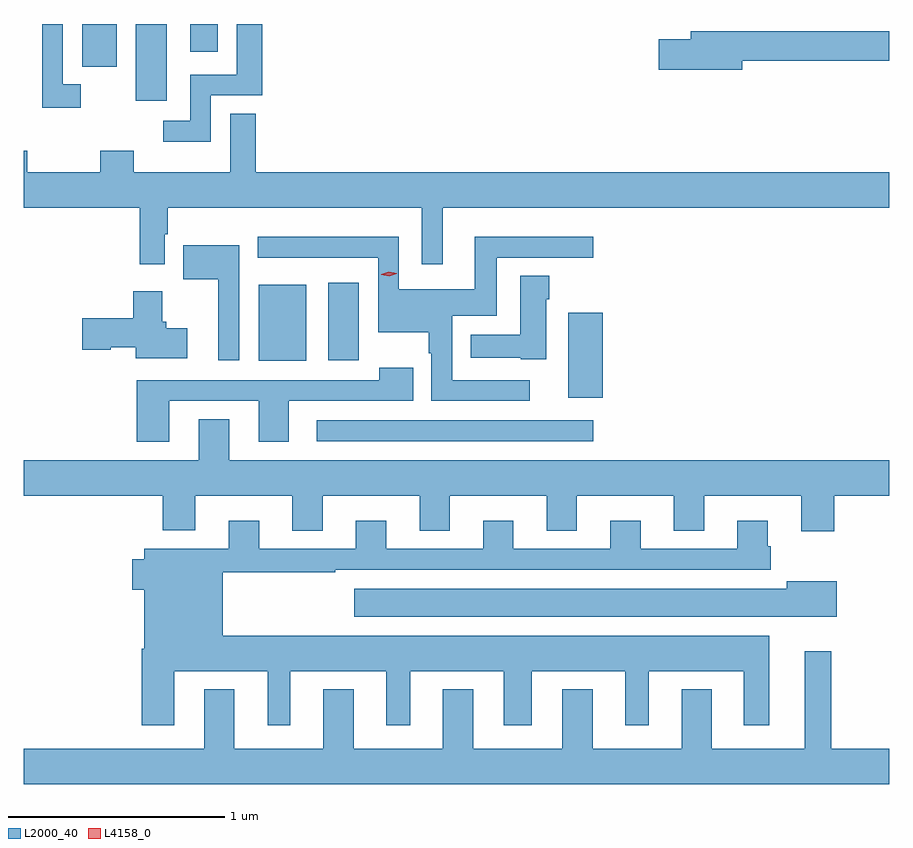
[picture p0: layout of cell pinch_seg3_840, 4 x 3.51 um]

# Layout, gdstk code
import gdstk
lib = gdstk.Library(unit=1e-6, precision=1e-09)
def R(c, l, rs):  # rectangles x0, y0, x1, y1
    for r in rs: c.add(gdstk.rectangle(r[:2], r[2:], *l))
def P(c, l, *ps):  # polygons
    for p in ps: c.add(gdstk.Polygon(p, *l))
L2000_40 = (2000, 40)
L4158_0 = (4158, 0)

pinch_seg3_840 = lib.new_cell('pinch_seg3_840')
R(pinch_seg3_840, L2000_40, [(708.987,729.141,710.266,729.237), (710.15,729.341,710.311,729.736), (708.719,729.512,708.94,729.865), (709.04,729.516,709.183,729.874), (708.152,730.716,708.295,731.07), (707.903,730.872,708.064,731.07), (708.402,730.941,708.529,731.07)])
P(pinch_seg3_840, L2000_40, [(708.498,730.74),(708.736,730.74),(708.736,731.07),(708.617,731.07),(708.617,730.836),(708.402,730.836),(708.402,730.623),(708.279,730.623),(708.279,730.526),(708.498,730.526)],
  [(707.896,730.791),(707.814,730.791),(707.814,731.07),(707.718,731.07),(707.718,730.683),(707.896,730.683)],
  [(710.956,730.9),(711.634,730.9),(711.634,731.036),(710.717,731.036),(710.717,731),(710.568,731),(710.568,730.858),(710.956,730.858)],
  [(708.285,730.098),(708.298,730.098),(708.298,730.22),(709.473,730.22),(709.473,729.96),(709.57,729.96),(709.57,730.22),(711.634,730.22),(711.634,730.384),(708.706,730.384),(708.706,730.655),(708.587,730.655),(708.587,730.384),(708.141,730.384),(708.141,730.483),(707.986,730.483),(707.986,730.384),(707.649,730.384),(707.649,730.483),(707.634,730.483),(707.634,730.22),(708.169,730.22),(708.169,729.96),(708.285,729.96)],
  [(709.972,729.423),(709.614,729.423),(709.614,729.722),(709.819,729.722),(709.819,729.99),(710.266,729.99),(710.266,730.087),(709.718,730.087),(709.718,729.844),(709.368,729.844),(709.368,730.087),(708.715,730.087),(708.715,729.99),(709.272,729.99),(709.272,729.644),(709.506,729.644),(709.506,729.548),(709.518,729.548),(709.518,729.327),(709.972,729.327)],
  [(708.63,730.048),(708.37,730.048),(708.37,729.89),(708.533,729.89),(708.533,729.516),(708.63,729.516)],
  [(710.05,729.797),(710.063,729.797),(710.063,729.905),(709.928,729.905),(709.928,729.634),(709.701,729.634),(709.701,729.527),(709.932,729.527),(709.932,729.521),(710.05,729.521)],
  [(708.388,729.664),(708.292,729.664),(708.292,729.693),(708.274,729.693),(708.274,729.835),(708.14,729.835),(708.14,729.71),(707.904,729.71),(707.904,729.563),(708.036,729.563),(708.036,729.575),(708.152,729.575),(708.152,729.524),(708.388,729.524)],
  [(708.307,729.327),(708.719,729.327),(708.719,729.138),(708.859,729.138),(708.859,729.327),(709.433,729.327),(709.433,729.481),(709.277,729.481),(709.277,729.423),(708.155,729.423),(708.155,729.138),(708.307,729.138)],
  [(708.583,729.242),(708.443,729.242),(708.443,729.052),(707.634,729.052),(707.634,728.888),(708.275,728.888),(708.275,728.729),(708.427,728.729),(708.427,728.888),(708.875,728.888),(708.875,728.728),(709.015,728.728),(709.015,728.888),(709.463,728.888),(709.463,728.728),(709.603,728.728),(709.603,728.888),(710.051,728.888),(710.051,728.728),(710.191,728.728),(710.191,728.888),(710.639,728.888),(710.639,728.728),(710.779,728.728),(710.779,728.888),(711.227,728.888),(711.227,728.724),(711.38,728.724),(711.38,728.888),(711.634,728.888),(711.634,729.052),(708.583,729.052)],
  [(708.328,728.078),(708.761,728.078),(708.761,727.827),(708.865,727.827),(708.865,728.078),(709.31,728.078),(709.31,727.827),(709.42,727.827),(709.42,728.078),(709.853,728.078),(709.853,727.827),(709.981,727.827),(709.981,728.078),(710.414,728.078),(710.414,727.827),(710.524,727.827),(710.524,728.078),(710.963,728.078),(710.963,727.827),(711.079,727.827),(711.079,728.242),(708.553,728.242),(708.553,728.535),(709.073,728.535),(709.073,728.547),(711.086,728.547),(711.086,728.655),(711.073,728.655),(711.073,728.773),(710.933,728.773),(710.933,728.643),(710.485,728.643),(710.485,728.773),(710.345,728.773),(710.345,728.643),(709.897,728.643),(709.897,728.773),(709.757,728.773),(709.757,728.643),(709.309,728.643),(709.309,728.773),(709.169,728.773),(709.169,728.643),(708.721,728.643),(708.721,728.773),(708.581,728.773),(708.581,728.644),(708.191,728.644),(708.191,728.595),(708.134,728.595),(708.134,728.453),(708.191,728.453),(708.191,728.182),(708.179,728.182),(708.179,727.827),(708.328,727.827)],
  [(711.391,728.494),(711.161,728.494),(711.161,728.458),(709.161,728.458),(709.161,728.33),(711.391,728.33)],
  [(711.634,727.72),(711.367,727.72),(711.367,728.17),(711.245,728.17),(711.245,727.72),(710.815,727.72),(710.815,727.993),(710.675,727.993),(710.675,727.72),(710.263,727.72),(710.263,727.993),(710.123,727.993),(710.123,727.72),(709.711,727.72),(709.711,727.993),(709.571,727.993),(709.571,727.72),(709.159,727.72),(709.159,727.993),(709.019,727.993),(709.019,727.72),(708.607,727.72),(708.607,727.993),(708.467,727.993),(708.467,727.72),(707.634,727.72),(707.634,727.556),(711.634,727.556)])
P(pinch_seg3_840, L4158_0, [(709.322,729.904),(709.285,729.911),(709.285,729.912),(709.285,729.912),(709.32,729.924),(709.357,729.917),(709.357,729.917),(709.357,729.916)])

lib.write_gds('pinch_seg3_840.gds')
